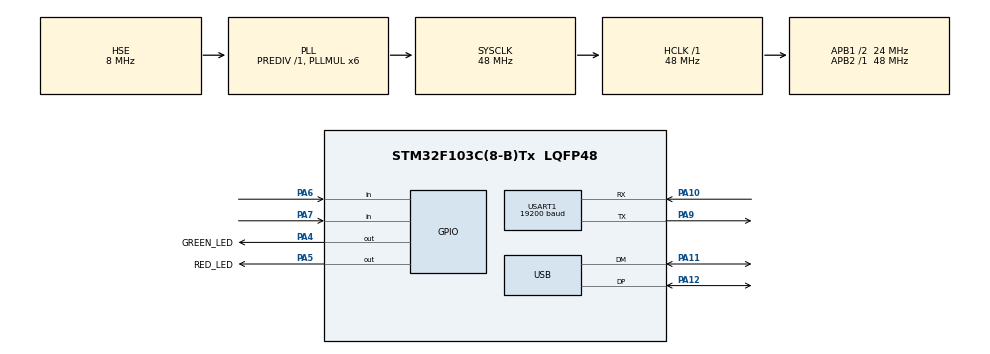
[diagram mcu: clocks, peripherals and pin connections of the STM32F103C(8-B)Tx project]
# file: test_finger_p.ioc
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Mcu.Family=STM32F1
Mcu.Name=STM32F103C(8-B)Tx
Mcu.Package=LQFP48
NVIC.PriorityGroup=NVIC_PRIORITYGROUP_4
NVIC.USB_LP_CAN1_RX0_IRQn=true\:0\:0\:false\:false\:true\:false\:true\:true
PA10.Mode=Asynchronous
PA10.Signal=USART1_RX
PA11.Mode=Device
PA11.Signal=USB_DM
PA12.Mode=Device
PA12.Signal=USB_DP
PA13.Mode=Serial_Wire
PA13.Signal=SYS_JTMS-SWDIO
PA14.Mode=Serial_Wire
PA14.Signal=SYS_JTCK-SWCLK
PA4.GPIO_Label=GREEN_LED
PA4.Signal=GPIO_Output
PA5.GPIO_Label=RED_LED
PA5.Signal=GPIO_Output
PA6.GPIO_PuPd=GPIO_PULLUP
PA6.Signal=GPIO_Input
PA7.GPIO_PuPd=GPIO_PULLUP
PA7.Signal=GPIO_Input
PA9.Mode=Asynchronous
PA9.Signal=USART1_TX
PD0-OSC_IN.Mode=HSE-External-Oscillator
PD0-OSC_IN.Signal=RCC_OSC_IN
PD1-OSC_OUT.Mode=HSE-External-Oscillator
PD1-OSC_OUT.Signal=RCC_OSC_OUT
ProjectManager.HeapSize=0x200
ProjectManager.StackSize=0x400
ProjectManager.TargetToolchain=STM32CubeIDE
RCC.AHBFreq_Value=48000000
RCC.APB1CLKDivider=RCC_HCLK_DIV2
RCC.APB1Freq_Value=24000000
RCC.APB1TimFreq_Value=48000000
RCC.APB2Freq_Value=48000000
RCC.APB2TimFreq_Value=48000000
RCC.HCLKFreq_Value=48000000
RCC.PLLMUL=RCC_PLL_MUL6
RCC.SYSCLKFreq_VALUE=48000000
RCC.SYSCLKSource=RCC_SYSCLKSOURCE_PLLCLK
RCC.USBFreq_Value=48000000
USART1.BaudRate=19200
USART1.VirtualMode=VM_ASYNC
USB_DEVICE.CLASS_NAME_FS=CDC
USB_DEVICE.VirtualMode=Cdc
USB_DEVICE.VirtualModeFS=Cdc_FS
VP_USB_DEVICE_VS_USB_DEVICE_CDC_FS.Mode=CDC_FS
board=custom

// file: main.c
/* USER CODE BEGIN Header */
/**
  ******************************************************************************
  * @file           : main.c
  * @brief          : Main program body
  ******************************************************************************
  * @attention
  *
  * Copyright (c) 2025 STMicroelectronics.
  * All rights reserved.
  *
  * This software is licensed under terms that can be found in the LICENSE file
  * in the root directory of this software component.
  * If no LICENSE file comes with this software, it is provided AS-IS.
  *
  ******************************************************************************
  */
/* USER CODE END Header */
#include "main.h"
#include "usb_device.h"
#include <stdbool.h>

uint16_t next_user_id = 1;
#define MAX_IDS 100
bool id_used[MAX_IDS + 1] = { false }; // ID 1 à 100 (index 0 inutilisé)
volatile bool system_busy = false;

UART_HandleTypeDef huart1;

void SystemClock_Config(void);
static void MX_GPIO_Init(void);
static void MX_USART1_UART_Init(void);
/* USER CODE BEGIN PFP */
void Reset_Fingerprint_Sensor(void);
void UART_SendCommand(uint8_t *cmd, uint8_t len);
int UART_ReadResponse(uint8_t *buffer, uint8_t len);
void PrintToPuTTY(char *msg);
bool Add_Fingerprint_3Steps(uint16_t user_id);
uint16_t Compare_Fingerprint(void);
bool Read_Valid_Frame(uint8_t *buffer, uint32_t timeout);
uint16_t Get_First_Free_ID(void);
void Delete_All_Users(void);
uint16_t Compare_Fingerprint_With_Timeout(uint32_t timeout_ms);
bool Is_Fingerprint_Registered(uint16_t id);

/* USER CODE END PFP */

/* USER CODE BEGIN 0 */

GPIO_PinState last_ajout_btn = GPIO_PIN_SET;
GPIO_PinState last_suppr_btn = GPIO_PIN_SET;

/* USER CODE END 0 */

int main(void)
{

  /* MCU Configuration--------------------------------------------------------*/

  /* Reset of all peripherals, Initializes the Flash interface and the Systick. */
  HAL_Init();

  /* Configure the system clock */
  SystemClock_Config();

  /* Initialize all configured peripherals */
  MX_GPIO_Init();
  MX_USART1_UART_Init();
  MX_USB_DEVICE_Init();
  /* USER CODE BEGIN 2 */
  Reset_Fingerprint_Sensor();
 HAL_Delay(1000);

Delete_All_Users();
HAL_Delay(1000);

 if (!Is_Fingerprint_Registered(1))  // si admin non encore enregistré
 {
     PrintToPuTTY("🛡️ Enregistrement de l’admin (ID=1)...\r\n");

     if (Add_Fingerprint_3Steps(1))
     {
         id_used[1] = true;
         PrintToPuTTY("✅ Admin enregistré.\r\n");
         LED_Green_On();
         HAL_Delay(2000);
         LED_Green_Off();
     }
     else
     {
         PrintToPuTTY("❌ Échec .\r\n");
         LED_Red_On();
         HAL_Delay(2000);
         LED_Red_Off();
     }
 }

  /* USER CODE END 2 */

  /* Infinite loop */
  /* USER CODE BEGIN WHILE */
    while (1)
    {
        if (system_busy) continue; // Ne fait rien si une opération est en cours

        // --- Bouton Ajout (PA7) ---
        if (HAL_GPIO_ReadPin(GPIOA, GPIO_PIN_7) == GPIO_PIN_RESET)
        {
            HAL_Delay(50); // anti-rebond
            if (HAL_GPIO_ReadPin(GPIOA, GPIO_PIN_7) == GPIO_PIN_RESET)
            {
                system_busy = true;

                PrintToPuTTY(">> Mode ajout\r\n");
                PrintToPuTTY(">> Authentification admin requise...\r\n");

                uint16_t admin_id = Compare_Fingerprint();
                HAL_Delay(500);
                if (admin_id == 1)
                {
                    PrintToPuTTY("✅ Admin reconnu\r\n");

                    uint16_t new_id = Get_First_Free_ID();
                    if (new_id == 0xFFFF)
                    {
                        PrintToPuTTY("❌ Aucun ID disponible.\r\n");
                    }
                    else
                    {
                        Add_Fingerprint_3Steps(new_id); // ⚠️ Fonction qui demande à poser le doigt 3 fois
                    }
                }
                else
                {
                    PrintToPuTTY("❌ Accès refusé : seul l'admin peut ajouter une empreinte\r\n");
                }

                while (HAL_GPIO_ReadPin(GPIOA, GPIO_PIN_7) == GPIO_PIN_RESET); // attendre relâchement
                system_busy = false;
            }
        }

        // --- Bouton Suppression (PA6) ---
        else if (HAL_GPIO_ReadPin(GPIOA, GPIO_PIN_6) == GPIO_PIN_RESET)
        {
            HAL_Delay(50); // anti-rebond
            if (HAL_GPIO_ReadPin(GPIOA, GPIO_PIN_6) == GPIO_PIN_RESET)
            {
                system_busy = true;

                PrintToPuTTY(">> Mode suppression\r\n");
                PrintToPuTTY(">> Authentification admin requise...\r\n");

                uint16_t admin_id = Compare_Fingerprint();
                HAL_Delay(500);
                if (admin_id == 1)
                {
                    PrintToPuTTY("✅ Admin reconnu\r\n");
                    PrintToPuTTY(">> Posez l'empreinte à supprimer...\r\n");

                    uint16_t id = Compare_Fingerprint();
                    if (id != 0xFFFF)
                    {
                        Delete_Fingerprint_By_ID(id);
                    }
                    else
                    {
                        PrintToPuTTY("❌ Empreinte inconnue, suppression échouée\r\n");
                    }
                }
                else
                {
                    PrintToPuTTY("❌ Accès refusé : seul l'admin peut supprimer une empreinte\r\n");
                }

                while (HAL_GPIO_ReadPin(GPIOA, GPIO_PIN_6) == GPIO_PIN_RESET); // attendre relâchement
                system_busy = false;
            }
        }

        // --- Mode comparaison automatique ---
        else
        {
            uint16_t id = Compare_Fingerprint_With_Timeout(2000);
           if (id != 0xFFFF)
            {
                PrintToPuTTY("✅ Empreinte reconnue !\r\n");
                char msg[32];
                sprintf(msg, "ID = %d\r\n", id);
                PrintToPuTTY(msg);
                LED_Green_On();
                HAL_Delay(1000);
                LED_Green_Off();
            }
        }
    }

}
  /* USER CODE END 3 */

void SystemClock_Config(void)
{
  RCC_OscInitTypeDef RCC_OscInitStruct = {0};
  RCC_ClkInitTypeDef RCC_ClkInitStruct = {0};
  RCC_PeriphCLKInitTypeDef PeriphClkInit = {0};

  /** Initializes the RCC Oscillators according to the specified parameters
  * in the RCC_OscInitTypeDef structure.
  */
  RCC_OscInitStruct.OscillatorType = RCC_OSCILLATORTYPE_HSE;
  RCC_OscInitStruct.HSEState = RCC_HSE_ON;
  RCC_OscInitStruct.HSEPredivValue = RCC_HSE_PREDIV_DIV1;
  RCC_OscInitStruct.HSIState = RCC_HSI_ON;
  RCC_OscInitStruct.PLL.PLLState = RCC_PLL_ON;
  RCC_OscInitStruct.PLL.PLLSource = RCC_PLLSOURCE_HSE;
  RCC_OscInitStruct.PLL.PLLMUL = RCC_PLL_MUL6;
  if (HAL_RCC_OscConfig(&RCC_OscInitStruct) != HAL_OK)
  {
    Error_Handler();
  }

  /** Initializes the CPU, AHB and APB buses clocks
  */
  RCC_ClkInitStruct.ClockType = RCC_CLOCKTYPE_HCLK|RCC_CLOCKTYPE_SYSCLK
                              |RCC_CLOCKTYPE_PCLK1|RCC_CLOCKTYPE_PCLK2;
  RCC_ClkInitStruct.SYSCLKSource = RCC_SYSCLKSOURCE_PLLCLK;
  RCC_ClkInitStruct.AHBCLKDivider = RCC_SYSCLK_DIV1;
  RCC_ClkInitStruct.APB1CLKDivider = RCC_HCLK_DIV2;
  RCC_ClkInitStruct.APB2CLKDivider = RCC_HCLK_DIV1;

  if (HAL_RCC_ClockConfig(&RCC_ClkInitStruct, FLASH_LATENCY_1) != HAL_OK)
  {
    Error_Handler();
  }
  PeriphClkInit.PeriphClockSelection = RCC_PERIPHCLK_USB;
  PeriphClkInit.UsbClockSelection = RCC_USBCLKSOURCE_PLL;
  if (HAL_RCCEx_PeriphCLKConfig(&PeriphClkInit) != HAL_OK)
  {
    Error_Handler();
  }
}

void MX_USART1_UART_Init(void)
{

  huart1.Instance = USART1;
  huart1.Init.BaudRate = 19200;
  huart1.Init.WordLength = UART_WORDLENGTH_8B;
  huart1.Init.StopBits = UART_STOPBITS_1;
  huart1.Init.Parity = UART_PARITY_NONE;
  huart1.Init.Mode = UART_MODE_TX_RX;
  huart1.Init.HwFlowCtl = UART_HWCONTROL_NONE;
  huart1.Init.OverSampling = UART_OVERSAMPLING_16;
  if (HAL_UART_Init(&huart1) != HAL_OK)
  {
    Error_Handler();
  }

}

void MX_GPIO_Init(void)
{
  GPIO_InitTypeDef GPIO_InitStruct = {0};

  /* GPIO Ports Clock Enable */
  __HAL_RCC_GPIOD_CLK_ENABLE();
  __HAL_RCC_GPIOA_CLK_ENABLE();

  /*Configure GPIO pin Output Level */
  HAL_GPIO_WritePin(GPIOA, GREEN_LED_Pin|RED_LED_Pin, GPIO_PIN_RESET);

  /*Configure GPIO pins : GREEN_LED_Pin RED_LED_Pin */
  GPIO_InitStruct.Pin = GREEN_LED_Pin|RED_LED_Pin;
  GPIO_InitStruct.Mode = GPIO_MODE_OUTPUT_PP;
  GPIO_InitStruct.Pull = GPIO_NOPULL;
  GPIO_InitStruct.Speed = GPIO_SPEED_FREQ_LOW;
  HAL_GPIO_Init(GPIOA, &GPIO_InitStruct);

  /*Configure GPIO pins : PA6 PA7 */
  GPIO_InitStruct.Pin = GPIO_PIN_6|GPIO_PIN_7;
  GPIO_InitStruct.Mode = GPIO_MODE_INPUT;
  GPIO_InitStruct.Pull = GPIO_PULLUP;
  HAL_GPIO_Init(GPIOA, &GPIO_InitStruct);

}

/* USER CODE BEGIN 4 */
void LED_Green_On(void) { HAL_GPIO_WritePin(GPIOA, GPIO_PIN_4, GPIO_PIN_SET); }
void LED_Green_Off(void) { HAL_GPIO_WritePin(GPIOA, GPIO_PIN_4, GPIO_PIN_RESET); }
void LED_Red_On(void) { HAL_GPIO_WritePin(GPIOA, GPIO_PIN_5, GPIO_PIN_SET); }
void LED_Red_Off(void) { HAL_GPIO_WritePin(GPIOA, GPIO_PIN_5, GPIO_PIN_RESET); }

 void PrintToPuTTY(char *msg)
 {
 while (CDC_Transmit_FS((uint8_t *)msg, strlen(msg)) == USBD_BUSY)
 {
 HAL_Delay(1);
 }
 }

 void Reset_Fingerprint_Sensor(void)
 {
	  PrintToPuTTY("🔄 Reset du capteur en cours...\r\n");
     HAL_GPIO_WritePin(GPIOA, GPIO_PIN_1, GPIO_PIN_RESET);
     HAL_Delay(50);

     HAL_GPIO_WritePin(GPIOA, GPIO_PIN_1, GPIO_PIN_SET);
     HAL_Delay(200);
     PrintToPuTTY("✅ Reset du capteur terminé.\r\n");
 }

 bool Add_Fingerprint_3Steps(uint16_t user_id)
 {
     char msg[100];

     for (int step = 1; step <= 3; step++)
     {
         sprintf(msg, "📤 Éssai %d.\r\n", step);
         PrintToPuTTY(msg);
         HAL_Delay(800);

         // Vide le buffer UART
         uint8_t dummy;
         while (HAL_UART_Receive(&huart1, &dummy, 1, 10) == HAL_OK);

         // Construction de la trame pour cette étape
         uint8_t cmd[8] = {
             0xF5,
             0x01 + step - 1,
             (user_id >> 8) & 0xFF,
             user_id & 0xFF,
             0x01, 0x00, 0x00, 0xF5
         };
         cmd[6] = cmd[1] ^ cmd[2] ^ cmd[3] ^ cmd[4] ^ cmd[5];

         // Envoi de la commande d'enregistrement
         HAL_UART_Transmit(&huart1, cmd, 8, 1000);
         HAL_Delay(100);

         // Réception
         uint8_t response[8] = {0};
         if (HAL_UART_Receive(&huart1, response, 8, 5000) == HAL_OK)
         {
             sprintf(msg, "📥 Réponse (%d): %02X %02X %02X %02X %02X %02X %02X %02X\r\n",
                     step, response[0], response[1], response[2], response[3],
                     response[4], response[5], response[6], response[7]);

             uint8_t checksum = response[1] ^ response[2] ^ response[3] ^ response[4] ^ response[5];

             if (response[0] == 0xF5 &&
                 response[1] == cmd[1] &&
                 response[6] == checksum &&
                 response[7] == 0xF5 &&
                 response[4] == 0x00)
             {
                 PrintToPuTTY("✅ Étape réussie\r\n");

                 // ✅ Allume LED VERTE STM32
                 HAL_GPIO_WritePin(GPIOA, GPIO_PIN_4, GPIO_PIN_SET);
                 HAL_Delay(500);
                 HAL_GPIO_WritePin(GPIOA, GPIO_PIN_4, GPIO_PIN_RESET);

                 HAL_Delay(1000); // Attente avant prochaine étape
             }
             else
             {
                 PrintToPuTTY("❌ Échec, recommencez\r\n");
                 HAL_Delay(1500);
                 step--; // Répéter cette étape
             }
         }
         else
         {
             HAL_Delay(1000);
             step--; // Répéter cette étape
         }

         HAL_Delay(800); // Pause entre étapes
     }

     PrintToPuTTY("🎉 Empreinte enregistrée avec succès !\r\n");
     return true;
 }

 uint16_t Get_First_Free_ID(void)
 {
     for (uint16_t i = 1; i <= MAX_IDS; i++)
     {
         if (!id_used[i])
             return i;
     }
     return 0xFFFF; // Aucun ID libre
 }

 uint16_t Compare_Fingerprint(void)
 {
     uint8_t cmd[8] = {0xF5, 0x0C, 0, 0, 0, 0, 0, 0xF5};
     cmd[6] = cmd[1] ^ cmd[2] ^ cmd[3] ^ cmd[4] ^ cmd[5];

     HAL_UART_Transmit(&huart1, cmd, 8, 1000);
     HAL_Delay(100);

     PrintToPuTTY("🔍 Démarrage de la comparaison d’empreinte...\r\n");

     uint8_t frame[8] = {0};

     if (Read_Valid_Frame(frame, 3000))
     {
         char msg[100];
         sprintf(msg, "📥 Trame reçue : %02X %02X %02X %02X %02X %02X %02X %02X\r\n",
                 frame[0], frame[1], frame[2], frame[3],
                 frame[4], frame[5], frame[6], frame[7]);

         switch (frame[5])
         {
             case 0x00:
             {
                 uint16_t uid = (frame[2] << 8) | frame[3];
                 if (uid == 0)
                 {
                     PrintToPuTTY("❌ Empreinte détectée mais non enregistrée.\r\n");
                     LED_Red_On();
                     HAL_Delay(2000);
                     LED_Red_Off();
                     return 0;
                 }
                 else
                 {
                     sprintf(msg, "✅ Empreinte reconnue : ID=%d, Priv=%d\r\n", uid, frame[4]);
                     PrintToPuTTY(msg);
	                 LED_Green_On();
	                 HAL_Delay(2000);
	                 LED_Green_Off();
                     return uid;
                 }
             }
             case 0x01:
                 PrintToPuTTY("❌ Empreinte non reconnue.\r\n");
                 return 0;
             case 0x02:
                 PrintToPuTTY("⚠️ Aucun utilisateur trouvé.\r\n");
                 return 0;
             case 0x03:
                 PrintToPuTTY("⚠️ Temps d’attente dépassé.\r\n");
                 return 0;
             default:
                 PrintToPuTTY("⚠️ Code retour inconnu.\r\n");
                 return 0;
         }
     }
     else
     {
         PrintToPuTTY("⏱️ Timeout ou trame invalide.\r\n");
         return 0;
     }
 }

 void Delete_All_Users(void)
 {
     uint8_t cmd[8] = {0xF5, 0x05, 0x00, 0x00, 0x00, 0x00, 0x00, 0xF5};

     // Calcul du checksum (XOR de cmd[1] à cmd[5])
     cmd[6] = cmd[1] ^ cmd[2] ^ cmd[3] ^ cmd[4] ^ cmd[5];

     HAL_UART_Transmit(&huart1, cmd, 8, 1000);

     uint8_t resp[8] = {0};
     PrintToPuTTY("🗑️ Suppression de toutes les empreintes...\r\n");

     if (HAL_UART_Receive(&huart1, resp, 8, 3000) == HAL_OK)
     {
         char msg[128];
         sprintf(msg, "📥 Réponse : %02X %02X %02X %02X %02X %02X %02X %02X\r\n",
                 resp[0], resp[1], resp[2], resp[3],
                 resp[4], resp[5], resp[6], resp[7]);

         uint8_t checksum = resp[1] ^ resp[2] ^ resp[3] ^ resp[4] ^ resp[5];

         if (resp[0] == 0xF5 && resp[1] == 0x05 && resp[7] == 0xF5 && resp[6] == checksum)
         {
             if (resp[4] == 0x00) // ACK_SUCCESS
             {
                 PrintToPuTTY("✅ Toutes les empreintes ont été supprimées !\r\n");
             }
             else
             {
                 PrintToPuTTY("❌ Échec de la suppression.\r\n");
             }
         }
         else
         {
             PrintToPuTTY("❌ Réponse invalide (format ou checksum).\r\n");
         }
     }
     else
     {
         PrintToPuTTY("⏱️ Timeout - pas de réponse du capteur.\r\n");
     }
 }

 bool Read_Valid_Frame(uint8_t *buffer, uint32_t timeout_ms)
 {
     uint32_t start_tick = HAL_GetTick();
     uint8_t idx = 0;

     while (idx < 8)
     {
         if (HAL_UART_Receive(&huart1, &buffer[idx], 1, 10) == HAL_OK)
         {
             idx++;
         }
         else
         {
             if ((HAL_GetTick() - start_tick) > timeout_ms)
                 return false; // timeout global dépassé
         }
     }

     // Vérifications comme avant
     if (buffer[0] != 0xF5 || buffer[7] != 0xF5)
         return false;

     uint8_t checksum = buffer[1] ^ buffer[2] ^ buffer[3] ^ buffer[4] ^ buffer[5];
     if (buffer[6] != checksum)
         return false;

     return true;
 }

 void Delete_Fingerprint_By_ID(uint16_t id)
 {
     char msg[100];

     // ⚠️ Commande 0x04 pour suppression spécifique (PAS 0x05)
     uint8_t cmd[8] = {0xF5, 0x04, id >> 8, id & 0xFF, 0x00, 0x00, 0x00, 0xF5};
     cmd[6] = cmd[1] ^ cmd[2] ^ cmd[3] ^ cmd[4] ^ cmd[5];

     sprintf(msg, "📤 Suppression de l’empreinte ID=%d...\r\n", id);

     HAL_UART_Transmit(&huart1, cmd, 8, 1000);

     uint8_t frame[8] = {0};

     if (Read_Valid_Frame(frame, 1000))
     {
    	 if (frame[1] == 0x04 && frame[4] == 0x00) {
    	     PrintToPuTTY("✅ Suppression confirmée : empreinte effacée ✅\r\n");
    	     id_used[id] = false;  // <-- AJOUT ICI
    	     return;
         }
     }

     // 🔍 Vérification de suppression par comparaison
     PrintToPuTTY("🔍 Vérification de suppression par comparaison...\r\n");

     uint8_t compare_cmd[8] = {0xF5, 0x0C, 0, 0, 0, 0, 0, 0xF5};
     compare_cmd[6] = compare_cmd[1] ^ compare_cmd[2] ^ compare_cmd[3] ^ compare_cmd[4] ^ compare_cmd[5];
     HAL_UART_Transmit(&huart1, compare_cmd, 8, 1000);
     HAL_Delay(100);

     if (Read_Valid_Frame(frame, 1000))
     {
         sprintf(msg, "📥 Vérification : %02X %02X %02X %02X %02X %02X %02X %02X\r\n",
                 frame[0], frame[1], frame[2], frame[3],
                 frame[4], frame[5], frame[6], frame[7]);

         if (frame[1] == 0x0C && frame[4] == 0x00 && ((frame[2] << 8) | frame[3]) == id)
         {
             PrintToPuTTY("❌ Suppression échouée : empreinte toujours présente.\r\n");
         }
         else
         {
             PrintToPuTTY("✅ Aucune empreinte reconnue : suppression réussie ✅\r\n");
         }
     }
     else
     {
         PrintToPuTTY("⏱️ Timeout lors de la suppression. Aucune confirmation reçue.\r\n");
     }
 }

 uint16_t Compare_Fingerprint_With_Timeout(uint32_t timeout_ms)
 {
     uint8_t cmd[8] = {0xF5, 0x0C, 0, 0, 0, 0, 0, 0xF5};
     cmd[6] = cmd[1] ^ cmd[2] ^ cmd[3] ^ cmd[4] ^ cmd[5];

     HAL_UART_Transmit(&huart1, cmd, 8, 100);

     uint8_t frame[8] = {0};
     uint32_t start_time = HAL_GetTick();

     while ((HAL_GetTick() - start_time) < timeout_ms)
     {
         if (HAL_UART_Receive(&huart1, frame, 8, 100) == HAL_OK)
         {
             if (frame[0] == 0xF5 && frame[7] == 0xF5)
             {
                 uint8_t checksum = frame[1] ^ frame[2] ^ frame[3] ^ frame[4] ^ frame[5];
                 if (frame[6] == checksum && frame[1] == 0x0C)
                 {
                     if (frame[5] == 0x00) // ACK_SUCCESS
                     {
                         uint16_t uid = (frame[2] << 8) | frame[3];

                         if (uid == 0)
                         {
                             // 🟥 Empreinte détectée mais non enregistrée
                             LED_Red_On();
                             HAL_Delay(1000);
                             LED_Red_Off();
                             return 0xFFFF;
                         }
                         else
                         {
                             // 🟩 Empreinte reconnue
                             LED_Green_On();
                             HAL_Delay(1000);
                             LED_Green_Off();
                             return uid;
                         }
                     }
                     else
                     {
                         // Code retour ≠ 0x00 (non reconnu ou autre)
                         return 0xFFFF;
                     }
                 }
             }
         }

         // Si un bouton est appuyé, annule la comparaison
         if (HAL_GPIO_ReadPin(GPIOA, GPIO_PIN_6) == GPIO_PIN_RESET ||
             HAL_GPIO_ReadPin(GPIOA, GPIO_PIN_7) == GPIO_PIN_RESET)
         {
             return 0xFFFF;
         }
     }

     // Timeout : aucune empreinte détectée ⇒ pas de LED
     return 0xFFFF;
 }

 bool Is_Fingerprint_Registered(uint16_t id)
 {
     uint8_t tx_buffer[8] = {
         0xF5, 0x0F,
         (uint8_t)(id >> 8), (uint8_t)(id & 0xFF),
         0x00, 0x00, 0x00, 0xF5
     };
     tx_buffer[6] = tx_buffer[1] ^ tx_buffer[2] ^ tx_buffer[3] ^ tx_buffer[4] ^ tx_buffer[5];

     HAL_UART_Transmit(&huart1, tx_buffer, 8, HAL_MAX_DELAY);

     uint8_t rx_buffer[8] = {0};
     if (HAL_UART_Receive(&huart1, rx_buffer, 8, 1000) == HAL_OK)
     {
         return (rx_buffer[4] == 0x00); // 0x00 = ID existe
     }

     return false;
 }

/* USER CODE END 4 */

void Error_Handler(void)
{
  __disable_irq();
  while (1)
  {
  }
}
